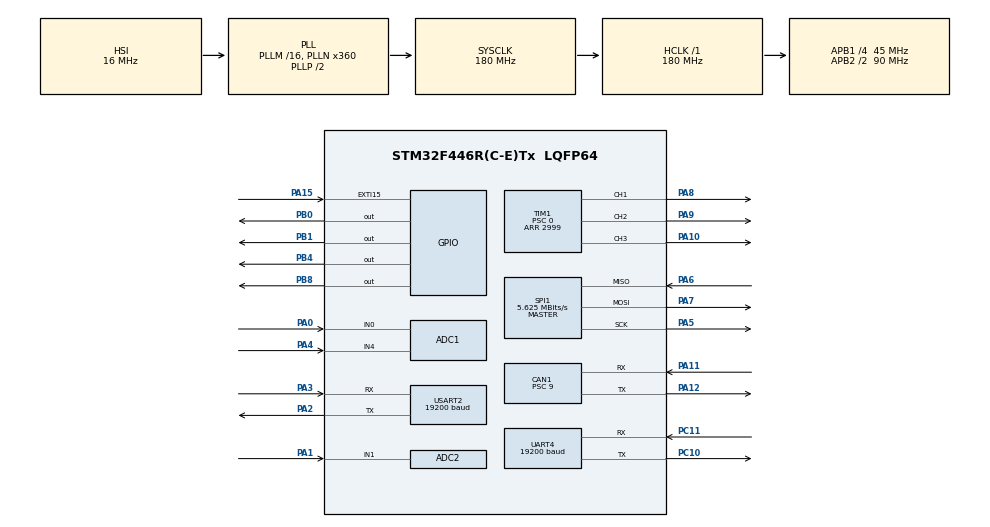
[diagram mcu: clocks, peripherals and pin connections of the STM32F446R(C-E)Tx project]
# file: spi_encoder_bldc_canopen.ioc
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ADC1.Channel-5\#ChannelRegularConversion=ADC_CHANNEL_0
ADC1.Channel-6\#ChannelInjectedConversion=ADC_CHANNEL_0
ADC1.Channel-7\#ChannelInjectedConversion=ADC_CHANNEL_4
ADC1.ClockPrescaler=ADC_CLOCK_SYNC_PCLK_DIV6
ADC1.ContinuousConvMode=ENABLE
ADC1.DataAlign=ADC_DATAALIGN_RIGHT
ADC1.EOCSelection=ADC_EOC_SEQ_CONV
ADC1.ExternalTrigConv=ADC_SOFTWARE_START
ADC1.ExternalTrigInjecConv=ADC_EXTERNALTRIGINJECCONV_T1_TRGO
ADC1.InjNumberOfConversion=2
ADC1.InjectedConvMode=Discontinuous
ADC1.InjectedOffset-6\#ChannelInjectedConversion=0
ADC1.InjectedOffset-7\#ChannelInjectedConversion=0
ADC1.InjectedRank-6\#ChannelInjectedConversion=1
ADC1.InjectedRank-7\#ChannelInjectedConversion=2
ADC1.NbrOfConversion=1
ADC1.NbrOfConversionFlag=1
ADC1.Rank-5\#ChannelRegularConversion=1
ADC1.SamplingTime-5\#ChannelRegularConversion=ADC_SAMPLETIME_480CYCLES
ADC1.SamplingTime-6\#ChannelInjectedConversion=ADC_SAMPLETIME_480CYCLES
ADC1.SamplingTime-7\#ChannelInjectedConversion=ADC_SAMPLETIME_480CYCLES
ADC1.master=1
ADC2.Channel-1\#ChannelRegularConversion=ADC_CHANNEL_1
ADC2.ClockPrescaler=ADC_CLOCK_SYNC_PCLK_DIV6
ADC2.NbrOfConversionFlag=1
ADC2.Rank-1\#ChannelRegularConversion=1
ADC2.SamplingTime-1\#ChannelRegularConversion=ADC_SAMPLETIME_15CYCLES
CAN1.ABOM=ENABLE
CAN1.BS1=CAN_BS1_2TQ
CAN1.BS2=CAN_BS2_2TQ
CAN1.CalculateBaudRate=1000000
CAN1.CalculateTimeBit=1000
CAN1.CalculateTimeQuantum=200.0
CAN1.Prescaler=9
CAN1.RFLM=ENABLE
CAN1.TXFP=ENABLE
Dma.ADC2.1.Direction=DMA_PERIPH_TO_MEMORY
Dma.ADC2.1.FIFOMode=DMA_FIFOMODE_DISABLE
Dma.ADC2.1.Instance=DMA2_Stream2
Dma.ADC2.1.MemDataAlignment=DMA_MDATAALIGN_HALFWORD
Dma.ADC2.1.MemInc=DMA_MINC_ENABLE
Dma.ADC2.1.Mode=DMA_NORMAL
Dma.ADC2.1.PeriphDataAlignment=DMA_PDATAALIGN_HALFWORD
Dma.ADC2.1.PeriphInc=DMA_PINC_DISABLE
Dma.ADC2.1.Priority=DMA_PRIORITY_MEDIUM
Dma.Request0=USART2_TX
Dma.Request1=ADC2
Dma.Request2=UART4_TX
Dma.UART4_TX.2.Direction=DMA_MEMORY_TO_PERIPH
Dma.UART4_TX.2.FIFOMode=DMA_FIFOMODE_DISABLE
Dma.UART4_TX.2.Instance=DMA1_Stream4
Dma.UART4_TX.2.MemDataAlignment=DMA_MDATAALIGN_BYTE
Dma.UART4_TX.2.MemInc=DMA_MINC_ENABLE
Dma.UART4_TX.2.Mode=DMA_NORMAL
Dma.UART4_TX.2.PeriphDataAlignment=DMA_PDATAALIGN_BYTE
Dma.UART4_TX.2.PeriphInc=DMA_PINC_DISABLE
Dma.UART4_TX.2.Priority=DMA_PRIORITY_LOW
Dma.USART2_TX.0.Direction=DMA_MEMORY_TO_PERIPH
Dma.USART2_TX.0.FIFOMode=DMA_FIFOMODE_DISABLE
Dma.USART2_TX.0.Instance=DMA1_Stream6
Dma.USART2_TX.0.MemDataAlignment=DMA_MDATAALIGN_BYTE
Dma.USART2_TX.0.MemInc=DMA_MINC_ENABLE
Dma.USART2_TX.0.Mode=DMA_NORMAL
Dma.USART2_TX.0.PeriphDataAlignment=DMA_PDATAALIGN_BYTE
Dma.USART2_TX.0.PeriphInc=DMA_PINC_DISABLE
Dma.USART2_TX.0.Priority=DMA_PRIORITY_LOW
Mcu.Family=STM32F4
Mcu.Name=STM32F446R(C-E)Tx
Mcu.Package=LQFP64
NVIC.ADC_IRQn=true\:0\:0\:false\:false\:true\:true\:true\:true
NVIC.CAN1_RX0_IRQn=true\:0\:0\:false\:false\:true\:true\:true\:true
NVIC.CAN1_RX1_IRQn=true\:0\:0\:false\:false\:true\:true\:true\:true
NVIC.CAN1_TX_IRQn=true\:0\:0\:false\:false\:true\:true\:true\:true
NVIC.DMA1_Stream4_IRQn=true\:0\:0\:false\:false\:true\:false\:true\:true
NVIC.DMA1_Stream6_IRQn=true\:0\:0\:false\:false\:true\:false\:true\:true
NVIC.DMA2_Stream2_IRQn=true\:0\:0\:false\:false\:true\:false\:true\:true
NVIC.PriorityGroup=NVIC_PRIORITYGROUP_0
NVIC.SPI1_IRQn=true\:0\:0\:false\:false\:true\:true\:true\:true
NVIC.TIM7_IRQn=true\:0\:0\:false\:false\:true\:true\:true\:true
NVIC.TIM8_TRG_COM_TIM14_IRQn=true\:0\:0\:false\:false\:true\:true\:true\:true
NVIC.TIM8_UP_TIM13_IRQn=true\:0\:0\:false\:false\:true\:true\:true\:true
NVIC.USART2_IRQn=true\:0\:0\:false\:false\:true\:true\:true\:true
PA0-WKUP.Signal=SharedAnalog_PA0
PA1.Signal=SharedAnalog_PA1
PA10.Signal=S_TIM1_CH3
PA11.Mode=CAN_Activate
PA11.Signal=CAN1_RX
PA12.Mode=CAN_Activate
PA12.Signal=CAN1_TX
PA13.GPIO_Label=TMS
PA13.Mode=Serial_Wire
PA13.Signal=SYS_JTMS-SWDIO
PA14.GPIO_Label=TCK
PA14.Mode=Serial_Wire
PA14.Signal=SYS_JTCK-SWCLK
PA15.Signal=GPXTI15
PA2.Mode=Asynchronous
PA2.Signal=USART2_TX
PA3.Mode=Asynchronous
PA3.Signal=USART2_RX
PA4.Signal=SharedAnalog_PA4
PA5.Mode=Full_Duplex_Master
PA5.Signal=SPI1_SCK
PA6.Mode=Full_Duplex_Master
PA6.Signal=SPI1_MISO
PA7.Mode=Full_Duplex_Master
PA7.Signal=SPI1_MOSI
PA8.Signal=S_TIM1_CH1
PA9.Signal=S_TIM1_CH2
PB0.Signal=GPIO_Output
PB1.Signal=GPIO_Output
PB4.Signal=GPIO_Output
PB8.Signal=GPIO_Output
PC10.Mode=Asynchronous
PC10.Signal=UART4_TX
PC11.Mode=Asynchronous
PC11.Signal=UART4_RX
PC14-OSC32_IN.Signal=RCC_OSC32_IN
PC15-OSC32_OUT.Signal=RCC_OSC32_OUT
PH0-OSC_IN.Mode=HSE-External-Oscillator
PH0-OSC_IN.Signal=RCC_OSC_IN
PH1-OSC_OUT.Mode=HSE-External-Oscillator
PH1-OSC_OUT.Signal=RCC_OSC_OUT
ProjectManager.HeapSize=0x200
ProjectManager.StackSize=0x400
ProjectManager.TargetToolchain=STM32CubeIDE
RCC.48MHZClocksFreq_Value=84000000
RCC.AHBFreq_Value=180000000
RCC.APB1CLKDivider=RCC_HCLK_DIV4
RCC.APB1Freq_Value=45000000
RCC.APB1TimCLKDivider=1
RCC.APB1TimFreq_Value=45000000
RCC.APB2CLKDivider=RCC_HCLK_DIV2
RCC.APB2Freq_Value=90000000
RCC.APB2TimFreq_Value=180000000
RCC.CortexFreq_Value=180000000
RCC.FLatency-AdvancedSettings=FLASH_LATENCY_5
RCC.HCLKFreq_Value=180000000
RCC.HSE_VALUE=8000000
RCC.HSI_VALUE=16000000
RCC.PLLN=360
RCC.SYSCLKFreq_VALUE=180000000
RCC.SYSCLKSource=RCC_SYSCLKSOURCE_PLLCLK
RCC.USBFreq_Value=180000000
RCC.VCOOutputFreq_Value=360000000
SH.S_TIM1_CH1.0=TIM1_CH1,PWM Generation1 CH1
SH.S_TIM1_CH2.0=TIM1_CH2,PWM Generation2 CH2
SH.S_TIM1_CH3.0=TIM1_CH3,PWM Generation3 CH3
SH.SharedAnalog_PA0.0=GPIO_Analog
SH.SharedAnalog_PA0.1=ADC1_IN0,IN0
SH.SharedAnalog_PA1.0=GPIO_Analog
SH.SharedAnalog_PA1.1=ADC2_IN1,IN1
SH.SharedAnalog_PA4.0=GPIO_Analog
SH.SharedAnalog_PA4.1=ADC1_IN4,IN4
SPI1.BaudRatePrescaler=SPI_BAUDRATEPRESCALER_16
SPI1.CLKPhase=SPI_PHASE_2EDGE
SPI1.CLKPolarity=SPI_POLARITY_LOW
SPI1.CalculateBaudRate=5.625 MBits/s
SPI1.DataSize=SPI_DATASIZE_16BIT
SPI1.Direction=SPI_DIRECTION_2LINES
SPI1.Mode=SPI_MODE_MASTER
SPI1.VirtualType=VM_MASTER
TIM1.AutoReloadPreload=TIM_AUTORELOAD_PRELOAD_DISABLE
TIM1.AutomaticOutput=TIM_AUTOMATICOUTPUT_DISABLE
TIM1.BreakPolarity=TIM_BREAKPOLARITY_HIGH
TIM1.BreakState=TIM_BREAK_DISABLE
TIM1.Channel-PWM\ Generation1\ CH1=TIM_CHANNEL_1
TIM1.Channel-PWM\ Generation2\ CH2=TIM_CHANNEL_2
TIM1.Channel-PWM\ Generation3\ CH3=TIM_CHANNEL_3
TIM1.CounterMode=TIM_COUNTERMODE_CENTERALIGNED1
TIM1.LockLevel=TIM_LOCKLEVEL_OFF
TIM1.OCFastMode_PWM-PWM\ Generation1\ CH1=TIM_OCFAST_ENABLE
TIM1.OCFastMode_PWM-PWM\ Generation2\ CH2=TIM_OCFAST_ENABLE
TIM1.OCFastMode_PWM-PWM\ Generation3\ CH3=TIM_OCFAST_ENABLE
TIM1.OCMode_PWM-PWM\ Generation1\ CH1=TIM_OCMODE_PWM2
TIM1.OCMode_PWM-PWM\ Generation2\ CH2=TIM_OCMODE_PWM2
TIM1.OCMode_PWM-PWM\ Generation3\ CH3=TIM_OCMODE_PWM2
TIM1.OffStateIDLEMode=TIM_OSSI_DISABLE
TIM1.OffStateRunMode=TIM_OSSR_DISABLE
TIM1.Period=2999
TIM1.Prescaler=0
TIM1.Pulse-PWM\ Generation1\ CH1=0
TIM1.Pulse-PWM\ Generation2\ CH2=0
TIM1.Pulse-PWM\ Generation3\ CH3=0
TIM1.RepetitionCounter=0
TIM1.TIM_MasterOutputTrigger=TIM_TRGO_UPDATE
TIM1.TIM_MasterSlaveMode=TIM_MASTERSLAVEMODE_DISABLE
TIM2.Period=4294967295
TIM2.Prescaler=44
TIM3.Prescaler=19
TIM7.Period=1000
TIM7.Prescaler=179
TIM8.Period=999
TIM8.Prescaler=179
UART4.BaudRate=19200
UART4.VirtualMode=Asynchronous
USART2.BaudRate=19200
USART2.VirtualMode=VM_ASYNC
VP_TIM1_VS_ClockSourceINT.Mode=Internal
VP_TIM2_VS_ClockSourceINT.Mode=Internal
VP_TIM3_VS_ClockSourceINT.Mode=Internal
VP_TIM7_VS_ClockSourceINT.Mode=Enable_Timer
VP_TIM8_VS_ClockSourceINT.Mode=Internal
board=NUCLEO-F446RE

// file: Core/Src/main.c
/* USER CODE BEGIN Header */
/**
  ******************************************************************************
  * @file           : main.c
  * @brief          : Main program body
  ******************************************************************************
  * @attention
  *
  * Copyright (c) 2025 STMicroelectronics.
  * All rights reserved.
  *
  * This software is licensed under terms that can be found in the LICENSE file
  * in the root directory of this software component.
  * If no LICENSE file comes with this software, it is provided AS-IS.
  *
  ******************************************************************************
  */
/* USER CODE END Header */
#include "main.h"

/* USER CODE BEGIN Includes */
#include "CO_app_STM32.h"
#include "OD.h"

#include "stdio.h"
#include "string.h"
#include "math.h"
#define PWM_PERIOD 5998
#define PI 3.14159265359
#define AS5147U_ANGLE_REG  0x3FFF
#define AS5147U_BIT_RESOLUTION 14
#define V_LIMIT 8.0
#define INTEGRAL_LIMIT 1.5
#define OVERCURRENT_LIMIT_SQ 2
volatile uint32_t adc_value_A0,adc_value_A2, t_prev;
float ia,ib,ic,i_alpha,i_beta,i_d,i_q,Valpha,Vbeta,Va,Vb,Vc,angle,error_d,error_q,error_d_sum, error_q_sum, speed_error_sum, error_pos_sum;
float id_ref = 0.0,iq_ref = 0.1 ,theta_ref = 0 ,velocity_ref = 500;
float Ki = 30, Kp = 8 ,Kp_speed = 20, Ki_speed = 4,Kd_speed = 1, Ki_pos = 35, Kp_pos = 70,Kd_pos = 3;
float previous_angle,angle_current,angle_previous,velocity,total_angle,error_pos,theta_now,alpha = 0.9;
float execution_time,dt,speed_dt,angle_elec_rad,angle_offset,error_speed,speed_dt = 0.007;
float theta = 0,Vd =0,adc_dma_voltage,Vq,Iq_rate,idq=0;
float output_q_rate,elec_angle,Vq_unclamped,current_sq;
float shunt_resistor = 0.01,amp_gain = 50.0;
float t_position_prev,t_position_now,position_dt,Speed_dt;
int speed_loop_counter = 0,position_loop_counter = 0,i = 0,pole_pairs = 7;
volatile uint8_t flag_current_loop = 0,uart_busy = 0;
uint32_t adc_dma_value;
uint16_t PWM_A,PWM_B,PWM_C,rawCount,adc_inj_val[2],cnt_val;
uint8_t array_iq[50];
float raw_angle,angle_deg;
float32_t rx_theta = 0;
float32_t rx_speed=0;
float32_t rx_mode=0;
float32_t rx_change_PID=0;
float32_t rx_kp_speed=0;
float32_t rx_ki_speed=0;
float32_t rx_kd_speed=0;
float32_t rx_kp_pos=0;
float32_t rx_ki_pos=0;
float32_t rx_kd_pos=0;

/* USER CODE END Includes */

ADC_HandleTypeDef hadc1;
ADC_HandleTypeDef hadc2;
DMA_HandleTypeDef hdma_adc2;

CAN_HandleTypeDef hcan1;

SPI_HandleTypeDef hspi1;

TIM_HandleTypeDef htim1;
TIM_HandleTypeDef htim2;
TIM_HandleTypeDef htim3;
TIM_HandleTypeDef htim7;
TIM_HandleTypeDef htim8;

UART_HandleTypeDef huart4;
UART_HandleTypeDef huart2;
DMA_HandleTypeDef hdma_uart4_tx;
DMA_HandleTypeDef hdma_usart2_tx;

void SystemClock_Config(void);
static void MX_GPIO_Init(void);
static void MX_DMA_Init(void);
static void MX_TIM1_Init(void);
static void MX_ADC1_Init(void);
static void MX_SPI1_Init(void);
static void MX_TIM3_Init(void);
static void MX_USART2_UART_Init(void);
static void MX_TIM2_Init(void);
static void MX_TIM8_Init(void);
static void MX_UART4_Init(void);
static void MX_ADC2_Init(void);
static void MX_CAN1_Init(void);
static void MX_TIM7_Init(void);

/* USER CODE BEGIN 0 */

unsigned long _micros(){
	return HAL_GetTick()*1000;
}

void Update_dt()
{
	 static uint32_t t_prev = 0;
	uint32_t t_now = _micros();
	dt = (t_now - t_prev) / 1000000.0f;
//	if (dt <= 0.0f || dt > 0.5f) dt = 0.001f;
	t_prev = t_now;
}

void update_speed_dt()
{
	 static uint32_t t_speed_prev = 0;
	uint32_t t_speed_now = _micros();
	Speed_dt = (t_speed_now - t_speed_prev) / 1000000.0f;
	t_speed_prev = t_speed_now;
}

void update_position_dt()
{
	 static uint32_t t_position_prev = 0;
	uint32_t t_position_now = _micros();
	position_dt = (t_position_now - t_position_prev) / 1000000.0f;
	t_position_prev = t_position_now;
}

void delay_us (uint16_t us)
{
	__HAL_TIM_SET_COUNTER(&htim3,0);
	while (__HAL_TIM_GET_COUNTER(&htim3) < us);
}

uint8_t spiCalcEvenParity(uint16_t value) {
    uint8_t cnt = 0;
    for (uint8_t i = 0; i < 16; i++) {
        if (value & 0x1) cnt++;
        value >>= 1;
    }
    return cnt & 0x1;
}

uint16_t AS5147U_ReadAngle() {
    uint16_t command = AS5147U_ANGLE_REG ;
    command |= (1 << 14);
    command |= ((uint16_t)spiCalcEvenParity(command) << 15);
    uint16_t receivedData;

    uint16_t nop = 0x0000;

    HAL_GPIO_WritePin(GPIOB, GPIO_PIN_8, GPIO_PIN_RESET);
    HAL_SPI_Transmit(&hspi1, (uint8_t*)&command, 1, HAL_MAX_DELAY);

    HAL_GPIO_WritePin(GPIOB, GPIO_PIN_8, GPIO_PIN_SET);
    delay_us(10);
    HAL_GPIO_WritePin(GPIOB, GPIO_PIN_8, GPIO_PIN_RESET);

    HAL_SPI_TransmitReceive(&hspi1,(uint8_t*)&nop ,(uint8_t*)&receivedData, 1, HAL_MAX_DELAY);
    HAL_GPIO_WritePin(GPIOB, GPIO_PIN_8, GPIO_PIN_SET);

    receivedData = receivedData >> (1 + 13 - AS5147U_BIT_RESOLUTION);
    const uint16_t data_mask = 0xFFFF >> (16 - AS5147U_BIT_RESOLUTION);
    return receivedData & data_mask;

}

float normalize_angle(float angle_elec_rad) {
    while (angle_elec_rad >= 2 * M_PI) angle_elec_rad -= 2 * M_PI;
    while (angle_elec_rad < 0) angle_elec_rad += 2 * M_PI;
    return angle_elec_rad;
}

float AS5147U_GetAngleRad() {
    rawCount = AS5147U_ReadAngle();
    float mechanical = rawCount / 16384.0 * 2.0 * PI;
    //mechanical -= (M_PI+0.18714565);//
    mechanical -= 5.3897189304;// dây màu
    //mechanical -= 1.19627206;// dây 3 pha màu trắng
    if (mechanical >= 2.0f * PI) mechanical -= 2.0f * PI;
    return mechanical;
//    return (rawCount / 16384.0 * 2.0 * PI) ;
}

float electricalAngle() {
	float mechanical_angle_rad = AS5147U_GetAngleRad();
     elec_angle = ((mechanical_angle_rad  - angle_offset )) * pole_pairs;//+ PI/2
    // elec_angle -= M_PI;
    while (elec_angle >= 2 * M_PI) elec_angle -= 2 * M_PI;
    while (elec_angle < 0) elec_angle += 2 * M_PI;
    return elec_angle;
}

void alignRotor() {
    float V_align = 1.0;

    Va = V_align;
    PWM_A = ((Va / 8.0 + 1.0)/2 * PWM_PERIOD)*0.1;
    PWM_B = 0;
    PWM_C = 0;

    __HAL_TIM_SET_COMPARE(&htim1, TIM_CHANNEL_1, PWM_A);
    __HAL_TIM_SET_COMPARE(&htim1, TIM_CHANNEL_2, PWM_B);
    __HAL_TIM_SET_COMPARE(&htim1, TIM_CHANNEL_3, PWM_C);

    HAL_Delay(1000);

    angle_offset = AS5147U_GetAngleRad();

    __HAL_TIM_SET_COMPARE(&htim1, TIM_CHANNEL_1, 0);
    __HAL_TIM_SET_COMPARE(&htim1, TIM_CHANNEL_2, 0);
    __HAL_TIM_SET_COMPARE(&htim1, TIM_CHANNEL_3, 0);
}
void clark()
{
 	i_alpha = ia;
	i_beta = (ib - ic) / sqrt(3);
}

void park()
{
	i_d = i_alpha*cos(theta) + i_beta*sin(theta);
	i_q = -i_alpha*sin(theta) + i_beta*cos(theta);
	idq = sqrt( i_d * i_d + i_q * i_q);
}

void setpwm(){

	PWM_A = ((Va / 8 + 1.0)/2 * PWM_PERIOD)*0.3;
	PWM_B = ((Vb / 8 + 1.0)/2 * PWM_PERIOD)*0.3;
	PWM_C = ((Vc / 8 + 1.0)/2 * PWM_PERIOD)*0.3;

	// current_sq = sqrt(ia * ia + ib * ib + ic * ic);
	 current_sq = ia * ia + ib * ib + ic * ic;

	if (current_sq > OVERCURRENT_LIMIT_SQ) {
	    __HAL_TIM_SET_COMPARE(&htim1, TIM_CHANNEL_1, 0);
	    __HAL_TIM_SET_COMPARE(&htim1, TIM_CHANNEL_2, 0);
	    __HAL_TIM_SET_COMPARE(&htim1, TIM_CHANNEL_3, 0);
	    //HAL_Delay(5000);
	} else {
	    __HAL_TIM_SET_COMPARE(&htim1, TIM_CHANNEL_1, PWM_A);
	    __HAL_TIM_SET_COMPARE(&htim1, TIM_CHANNEL_2, PWM_B);
	    __HAL_TIM_SET_COMPARE(&htim1, TIM_CHANNEL_3, PWM_C);
	}
	if (adc_dma_voltage < 1.5 || adc_dma_voltage > 1.9) {
		    __HAL_TIM_SET_COMPARE(&htim1, TIM_CHANNEL_1, 0);
		    __HAL_TIM_SET_COMPARE(&htim1, TIM_CHANNEL_2, 0);
		    __HAL_TIM_SET_COMPARE(&htim1, TIM_CHANNEL_3, 0);
		    //HAL_Delay(5000);

		} else {
		    __HAL_TIM_SET_COMPARE(&htim1, TIM_CHANNEL_1, PWM_A);
		    __HAL_TIM_SET_COMPARE(&htim1, TIM_CHANNEL_2, PWM_B);
		    __HAL_TIM_SET_COMPARE(&htim1, TIM_CHANNEL_3, PWM_C);
		}
}

void update_PID()
{
	if ((fabs(error_pos) >= 0.0f) && (fabs(error_pos) <= (6.0f * (float)M_PI)))//(6.0f * (float)M_PI) ))
	{

		Kp_speed = 20.0f;
				Ki_speed = 2.0f;
				Kd_speed = 2.0f;
				Ki_pos = 1.0f;
				Kp_pos = 100.0f;
				Kd_pos = 15.0f;
			    if((velocity_ref > -200 && velocity_ref <= 0) || (velocity_ref > 0 && velocity_ref <= 200))
			    {
			        Ki = 3.5;
			        Kp = 1.0;
			    }
			    else if((velocity_ref > -500 && velocity_ref <= -200)||(velocity_ref > 200 && velocity_ref <= 500))
			    {
			        Ki = 5.0;
			        Kp = 2.0;
			    }
			    else if((velocity_ref > -1000 && velocity_ref <= -500)||(velocity_ref > 500 && velocity_ref <= 1000))
			    {
			        Ki = 7.0;
			        Kp = 2.0;
			    }
			    else if((velocity_ref > -1500 && velocity_ref <= -1000)||(velocity_ref > 1000 && velocity_ref <= 1500))
			    {
			        Ki = 11;
			        Kp = 2.0;
			    }
			    else
			    {
			        Ki = 13;
			        Kp = 2.0;
			    }
	}
else //if  ( (fabs(error_pos) > (6.0f * (float)M_PI)))
	{
		Kp_speed = 10.0f;
		Ki_speed = 0.0f;
		Kd_speed = 0.0f;
		Ki_pos = 5.0f;
		Kp_pos = 100.0f;
		Kd_pos = 0.5f;
		if((velocity_ref > -200 && velocity_ref <= 0) || (velocity_ref > 0 && velocity_ref <= 200))
		{
		Ki = 7.5;
		Kp = 5.5;
		}
		else if((velocity_ref > -500 && velocity_ref <= -200)||(velocity_ref > 200 && velocity_ref <= 500))
		{
		 Ki = 8.0;
		 Kp = 5.5;
		 }
		else if((velocity_ref > -1000 && velocity_ref <= -500)||(velocity_ref > 500 && velocity_ref <= 1000))
		{
		 Ki = 9.0;
		 Kp = 5.5;
		 }
		else if((velocity_ref > -1500 && velocity_ref <= -1000)||(velocity_ref > 1000 && velocity_ref <= 1500))
		{
		Ki = 13;
		Kp = 5.5;
		}
		else
		{
		Ki = 13;
		Kp = 5.5;
		}
	}

}

//void update_PID()
//{
//	Kp_speed = 2, Ki_speed = 0.02,Kd_speed = 0;
//	if((velocity_ref > -100 && velocity_ref <= 0) || (velocity_ref > 0 && velocity_ref <= 100))
//	    {
//	        Ki = 0.8;
//	        Kp = 0.9;
//	    }
//	    else if((velocity_ref > -150 && velocity_ref <= -100)||(velocity_ref > 100 && velocity_ref <= 150))
//	    {
//	        Ki = 1.0;
//	        Kp = 1.1;
//	    }
//	    else if((velocity_ref > -250 && velocity_ref <= -150)||(velocity_ref > 150 && velocity_ref <= 250))
//	    {
//	        Ki = 1.1;
//	        Kp = 1.1;
//	    }
//	    else if((velocity_ref > -350 && velocity_ref <= -250)||(velocity_ref > 250 && velocity_ref <= 350))
//	    {
//	        Ki = 1.1;
//	        Kp = 0.9;
//	    }
//	    else if((velocity_ref > -500 && velocity_ref <= -350)||(velocity_ref > 350 && velocity_ref <= 500))
//	    {
//	        Ki = 1.3;
//	        Kp = 1.6;
//	    }
//	    else if((velocity_ref > -750 && velocity_ref <= -500)||(velocity_ref > 500 && velocity_ref <= 750))
//	    {
//	        Ki = 1.6;
//	        Kp = 1.7;
//	    }
//	    else if((velocity_ref > -1000 && velocity_ref <= -750)||(velocity_ref > 750 && velocity_ref <= 1000))
//	    {
//	        Ki = 1.8;
//	        Kp = 2.1;
//	    }
//	    else if((velocity_ref > -1500 && velocity_ref <= -1000)||(velocity_ref > 1000 && velocity_ref <= 1500))
//	    {
//	        Ki = 1.9;
//	        Kp = 2.2;
//	    }
//	    else
//	    {
//	        Ki = 2.2;
//	        Kp = 2.8;
//	    }
//	}

void position_loop()
{
	update_position_dt();

	    static float error_pos_sum = 0;
//	    static float position_dt = 0.012;

	    static float raw_angle_prev = 0;
	    static int turn_count = 0;

	    static float velocity_ref_prev = 0;

	     raw_angle = AS5147U_GetAngleRad();
	     angle_deg = raw_angle * (180.0f / M_PI);
	    float delta = raw_angle - raw_angle_prev;

	    if (delta > M_PI) turn_count--;
	    else if (delta < -M_PI) turn_count++;

	    raw_angle_prev = raw_angle;

	    theta_now = raw_angle + turn_count * 2.0f * M_PI;
	    error_pos = theta_ref - theta_now;

	    error_pos_sum += error_pos * position_dt;
	    error_pos_sum = fminf(fmaxf(error_pos_sum, -0.5f), 0.5f);

	    float velocity_unclamped = Kp_pos * error_pos + Ki_pos * error_pos_sum;// + Kd_pos * derivative_pos;
	    velocity_unclamped = fminf(fmaxf(velocity_unclamped, -1700), 1700);

	    float velocity_ramp = 5000.0f;
	    float velocity_rate = (velocity_unclamped - velocity_ref_prev) / position_dt;

	    if (velocity_rate > velocity_ramp)
	        velocity_ref = velocity_ref_prev + velocity_ramp * position_dt;
	    else if (velocity_rate < -velocity_ramp)
	        velocity_ref = velocity_ref_prev - velocity_ramp * position_dt;
	    else
	        velocity_ref = velocity_unclamped;

	    velocity_ref_prev = velocity_ref;
}

void Speed_Loop()
{
	update_speed_dt();
    static float angle_prev = 0;
    static float error_speed_prev = 0;
    float angle_now = electricalAngle();
    float delta_angle = angle_now - angle_prev;
    //speed_dt= Speed_dt * 7;
    if (delta_angle > PI) delta_angle -= 2 * PI;
    if (delta_angle < -PI) delta_angle += 2 * PI;

    velocity = alpha * velocity + (1 - alpha) * ((delta_angle / speed_dt) * (60.0f / (2.0f * PI)));
    error_speed = velocity_ref - velocity;
    speed_error_sum += error_speed * speed_dt;
    speed_error_sum = fminf(fmaxf(speed_error_sum, -0.8f), 0.8f);

    float derivative = (error_speed - error_speed_prev) / speed_dt;
    error_speed_prev = error_speed;

    float Iq_unlimited = Kp_speed * error_speed + Ki_speed * speed_error_sum + Kd_speed * derivative;

       float Ts = speed_dt;
       float Iq_ramp = 5000;

       static float iq_ref_prev = 0.0f;
        Iq_rate = (Iq_unlimited - iq_ref_prev) / Ts;
       if (Iq_rate > Iq_ramp)
           iq_ref = iq_ref_prev + Iq_ramp * Ts;
       else if (Iq_rate < -Iq_ramp)
           iq_ref = iq_ref_prev - Iq_ramp * Ts;
       else
           iq_ref = Iq_unlimited;

       iq_ref = fminf(fmaxf(iq_ref, -1.0f), 1.0f);

       iq_ref_prev = iq_ref;

    angle_prev = angle_now;

}

void Current_Loop()
{
    Update_dt();

    theta = electricalAngle();
    clark();
    park();

    error_d = id_ref - i_d;
    error_q = iq_ref - i_q;

    error_d_sum += error_d * dt;
    error_q_sum += error_q * dt;

    error_d_sum = fminf(fmaxf(error_d_sum, -INTEGRAL_LIMIT), INTEGRAL_LIMIT);
    error_q_sum = fminf(fmaxf(error_q_sum, -INTEGRAL_LIMIT), INTEGRAL_LIMIT);

    float Vd_unclamped = Kp * error_d + Ki * error_d_sum ;
     Vq_unclamped = Kp * error_q + Ki * error_q_sum ;

    float V_limit = 8.0f;
//    Vd_unclamped = fminf(fmaxf(Vd_unclamped, -V_limit), V_limit);
//    Vq_unclamped = fminf(fmaxf(Vq_unclamped, -V_limit), V_limit);

    // Ramping
    static float Vd_prev = 0;
    static float Vq_prev = 0;
    float output_ramp = 1000.0f;

    float output_d_rate = (Vd_unclamped - Vd_prev) / dt;
    output_q_rate = (Vq_unclamped - Vq_prev) / dt;

    if (output_d_rate > output_ramp)
        Vd = Vd_prev + output_ramp * dt;
    else if (output_d_rate < -output_ramp)
        Vd = Vd_prev - output_ramp * dt;
    else
        Vd = Vd_unclamped;

    if (output_q_rate > output_ramp)
        Vq = Vq_prev + output_ramp * dt;
    else if (output_q_rate < -output_ramp)
        Vq = Vq_prev - output_ramp * dt;
    else
        Vq = Vq_unclamped;

    Vd = fminf(fmaxf(Vd, -V_limit), V_limit);
    Vq = fminf(fmaxf(Vq, -V_limit), V_limit);

    Vd_prev = Vd;
    Vq_prev = Vq;

	Valpha = Vd * cos(theta) - Vq * sin(theta);
	Vbeta  = Vd * sin(theta) + Vq * cos(theta);

    Va = Valpha;
    Vb = -0.5 * Valpha + (sqrtf(3) / 2) * Vbeta ;
    Vc = -0.5 * Valpha - (sqrtf(3) / 2) * Vbeta ;

    setpwm(Va, Vb, Vc);
    HAL_ADC_Start_DMA(&hadc2, &adc_dma_value, 1);
}

/* USER CODE END 0 */

int main(void)
{

  /* MCU Configuration--------------------------------------------------------*/

  /* Reset of all peripherals, Initializes the Flash interface and the Systick. */
  HAL_Init();

  /* Configure the system clock */
  SystemClock_Config();

  /* Initialize all configured peripherals */
  MX_GPIO_Init();
  MX_DMA_Init();
  MX_TIM1_Init();
  MX_ADC1_Init();
  MX_SPI1_Init();
  MX_TIM3_Init();
  MX_USART2_UART_Init();
  MX_TIM2_Init();
  MX_TIM8_Init();
  MX_UART4_Init();
  MX_ADC2_Init();
  MX_CAN1_Init();
  MX_TIM7_Init();
  /* USER CODE BEGIN 2 */
  CANopenNodeSTM32 canopenNodeSTM32;
    canopenNodeSTM32.CANHandle = &hcan1;
    canopenNodeSTM32.HWInitFunction = MX_CAN1_Init;
    canopenNodeSTM32.timerHandle = &htim7;
    canopenNodeSTM32.desiredNodeID = 32;
    canopenNodeSTM32.baudrate = 1000;
    canopen_app_init(&canopenNodeSTM32);

  HAL_TIM_Base_Start(&htim1);
  HAL_TIM_PWM_Start(&htim1, TIM_CHANNEL_1);
  HAL_TIM_PWM_Start(&htim1, TIM_CHANNEL_2);
  HAL_TIM_PWM_Start(&htim1, TIM_CHANNEL_3);
  HAL_TIM_Base_Start_IT(&htim8);
  HAL_TIM_Base_Start(&htim3);
  __HAL_TIM_SET_COUNTER(&htim2, 0);
  HAL_TIM_Base_Start(&htim2);
  HAL_ADCEx_InjectedStart_IT(&hadc1);

  HAL_GPIO_WritePin(GPIOB, GPIO_PIN_4, GPIO_PIN_SET);
  HAL_ADC_Start_DMA(&hadc2, &adc_dma_value, 1);
  angle = AS5147U_GetAngleRad();
  alignRotor();
  position_loop();
  /* USER CODE END 2 */

  /* Infinite loop */
  /* USER CODE BEGIN WHILE */
  while (1)
  {
	  canopen_app_process();
		OD_get_f32(OD_find(OD, 0x2000) , 0x01, &rx_theta, true);
		  	  	     theta_ref=rx_theta;

		OD_get_f32(OD_find(OD, 0x2000) , 0x02, &rx_speed, true);
		OD_get_f32(OD_find(OD, 0x2000) , 0x03, &rx_mode, true);
		OD_get_f32(OD_find(OD, 0x2000) , 0x04, &rx_change_PID, true);

		  	OD_PERSIST_COMM.x2200_TPDO.theta_now= theta_now;
		  	OD_PERSIST_COMM.x2200_TPDO.id= i_d;
		  	OD_PERSIST_COMM.x2200_TPDO.iq= i_q;
		  	OD_PERSIST_COMM.x2400_TPDO_PID.kp_speed=Kp_speed*100;
		  	OD_PERSIST_COMM.x2400_TPDO_PID.ki_speed=Ki_speed*100;
		  	OD_PERSIST_COMM.x2400_TPDO_PID.kd_speed=Kd_speed*100;
		  	OD_PERSIST_COMM.x2400_TPDO_PID.kp_pos=Kp_pos*100;
		  	OD_PERSIST_COMM.x2400_TPDO_PID.ki_pos=Ki_pos*100;
		  	OD_PERSIST_COMM.x2400_TPDO_PID.kd_pos=Kd_pos*100;
		  	OD_PERSIST_COMM.x2200_TPDO.speed_now=velocity;

	  if (flag_current_loop)
	     {
	         flag_current_loop = 0;
	         update_PID();
	         Current_Loop();
	         Speed_Loop();
	         i++;
	         ///////

//	         position_loop_counter++;
//	         if(position_loop_counter >= 12)
//	         {
//       	     position_loop();
//          	 position_loop_counter = 0;
//	         }
	         if (rx_mode == 0)
	         {
	             position_loop_counter++;
	             if (position_loop_counter >= 12)
	             {
	                 position_loop();
	                 position_loop_counter = 0;
	             }
	         }
	         else if (rx_mode == 1)
	         {
	             velocity_ref = rx_speed;
	         }

	         if (rx_change_PID == 1)
	         {
	         		OD_get_f32(OD_find(OD, 0x2600) , 0x01, &rx_kp_speed, true);
	         				rx_kp_speed=Kp_speed;

	         		OD_get_f32(OD_find(OD, 0x2600) , 0x02, &rx_ki_speed, true);
	         				rx_ki_speed=Ki_speed;

	         		OD_get_f32(OD_find(OD, 0x2600) , 0x03, &rx_kd_speed, true);
	         				rx_kd_speed=Kd_speed;

	         		OD_get_f32(OD_find(OD, 0x2600) , 0x04, &rx_kp_pos, true);
	         				rx_kp_pos=Kp_pos;

	         		OD_get_f32(OD_find(OD, 0x2600) , 0x05, &rx_ki_pos, true);
	         				rx_ki_pos=Ki_pos;

	         		OD_get_f32(OD_find(OD, 0x2600) , 0x06, &rx_kd_pos, true);
	         				rx_ki_pos=Kd_pos;
	         }
	     }

    /* USER CODE END WHILE */

  }
}

void SystemClock_Config(void)
{
  RCC_OscInitTypeDef RCC_OscInitStruct = {0};
  RCC_ClkInitTypeDef RCC_ClkInitStruct = {0};

  /** Configure the main internal regulator output voltage
  */
  __HAL_RCC_PWR_CLK_ENABLE();
  __HAL_PWR_VOLTAGESCALING_CONFIG(PWR_REGULATOR_VOLTAGE_SCALE1);

  /** Initializes the RCC Oscillators according to the specified parameters
  * in the RCC_OscInitTypeDef structure.
  */
  RCC_OscInitStruct.OscillatorType = RCC_OSCILLATORTYPE_HSI;
  RCC_OscInitStruct.HSIState = RCC_HSI_ON;
  RCC_OscInitStruct.HSICalibrationValue = RCC_HSICALIBRATION_DEFAULT;
  RCC_OscInitStruct.PLL.PLLState = RCC_PLL_ON;
  RCC_OscInitStruct.PLL.PLLSource = RCC_PLLSOURCE_HSI;
  RCC_OscInitStruct.PLL.PLLM = 16;
  RCC_OscInitStruct.PLL.PLLN = 360;
  RCC_OscInitStruct.PLL.PLLP = RCC_PLLP_DIV2;
  RCC_OscInitStruct.PLL.PLLQ = 2;
  RCC_OscInitStruct.PLL.PLLR = 2;
  if (HAL_RCC_OscConfig(&RCC_OscInitStruct) != HAL_OK)
  {
    Error_Handler();
  }

  /** Activate the Over-Drive mode
  */
  if (HAL_PWREx_EnableOverDrive() != HAL_OK)
  {
    Error_Handler();
  }

  /** Initializes the CPU, AHB and APB buses clocks
  */
  RCC_ClkInitStruct.ClockType = RCC_CLOCKTYPE_HCLK|RCC_CLOCKTYPE_SYSCLK
                              |RCC_CLOCKTYPE_PCLK1|RCC_CLOCKTYPE_PCLK2;
  RCC_ClkInitStruct.SYSCLKSource = RCC_SYSCLKSOURCE_PLLCLK;
  RCC_ClkInitStruct.AHBCLKDivider = RCC_SYSCLK_DIV1;
  RCC_ClkInitStruct.APB1CLKDivider = RCC_HCLK_DIV4;
  RCC_ClkInitStruct.APB2CLKDivider = RCC_HCLK_DIV2;

  if (HAL_RCC_ClockConfig(&RCC_ClkInitStruct, FLASH_LATENCY_5) != HAL_OK)
  {
    Error_Handler();
  }
}

static void MX_ADC1_Init(void)
{

  ADC_ChannelConfTypeDef sConfig = {0};
  ADC_InjectionConfTypeDef sConfigInjected = {0};

  /** Configure the global features of the ADC (Clock, Resolution, Data Alignment and number of conversion)
  */
  hadc1.Instance = ADC1;
  hadc1.Init.ClockPrescaler = ADC_CLOCK_SYNC_PCLK_DIV6;
  hadc1.Init.Resolution = ADC_RESOLUTION_12B;
  hadc1.Init.ScanConvMode = ENABLE;
  hadc1.Init.ContinuousConvMode = ENABLE;
  hadc1.Init.DiscontinuousConvMode = DISABLE;
  hadc1.Init.ExternalTrigConvEdge = ADC_EXTERNALTRIGCONVEDGE_NONE;
  hadc1.Init.ExternalTrigConv = ADC_SOFTWARE_START;
  hadc1.Init.DataAlign = ADC_DATAALIGN_RIGHT;
  hadc1.Init.NbrOfConversion = 1;
  hadc1.Init.DMAContinuousRequests = DISABLE;
  hadc1.Init.EOCSelection = ADC_EOC_SEQ_CONV;
  if (HAL_ADC_Init(&hadc1) != HAL_OK)
  {
    Error_Handler();
  }

  /** Configure for the selected ADC regular channel its corresponding rank in the sequencer and its sample time.
  */
  sConfig.Channel = ADC_CHANNEL_0;
  sConfig.Rank = 1;
  sConfig.SamplingTime = ADC_SAMPLETIME_480CYCLES;
  if (HAL_ADC_ConfigChannel(&hadc1, &sConfig) != HAL_OK)
  {
    Error_Handler();
  }

  /** Configures for the selected ADC injected channel its corresponding rank in the sequencer and its sample time
  */
  sConfigInjected.InjectedChannel = ADC_CHANNEL_0;
  sConfigInjected.InjectedRank = 1;
  sConfigInjected.InjectedNbrOfConversion = 2;
  sConfigInjected.InjectedSamplingTime = ADC_SAMPLETIME_480CYCLES;
  sConfigInjected.ExternalTrigInjecConvEdge = ADC_EXTERNALTRIGINJECCONVEDGE_RISING;
  sConfigInjected.ExternalTrigInjecConv = ADC_EXTERNALTRIGINJECCONV_T1_TRGO;
  sConfigInjected.AutoInjectedConv = DISABLE;
  sConfigInjected.InjectedDiscontinuousConvMode = ENABLE;
  sConfigInjected.InjectedOffset = 0;
  if (HAL_ADCEx_InjectedConfigChannel(&hadc1, &sConfigInjected) != HAL_OK)
  {
    Error_Handler();
  }

  /** Configures for the selected ADC injected channel its corresponding rank in the sequencer and its sample time
  */
  sConfigInjected.InjectedChannel = ADC_CHANNEL_4;
  sConfigInjected.InjectedRank = 2;
  if (HAL_ADCEx_InjectedConfigChannel(&hadc1, &sConfigInjected) != HAL_OK)
  {
    Error_Handler();
  }

}

static void MX_ADC2_Init(void)
{

  ADC_ChannelConfTypeDef sConfig = {0};

  /** Configure the global features of the ADC (Clock, Resolution, Data Alignment and number of conversion)
  */
  hadc2.Instance = ADC2;
  hadc2.Init.ClockPrescaler = ADC_CLOCK_SYNC_PCLK_DIV6;
  hadc2.Init.Resolution = ADC_RESOLUTION_12B;
  hadc2.Init.ScanConvMode = DISABLE;
  hadc2.Init.ContinuousConvMode = DISABLE;
  hadc2.Init.DiscontinuousConvMode = DISABLE;
  hadc2.Init.ExternalTrigConvEdge = ADC_EXTERNALTRIGCONVEDGE_NONE;
  hadc2.Init.ExternalTrigConv = ADC_SOFTWARE_START;
  hadc2.Init.DataAlign = ADC_DATAALIGN_RIGHT;
  hadc2.Init.NbrOfConversion = 1;
  hadc2.Init.DMAContinuousRequests = DISABLE;
  hadc2.Init.EOCSelection = ADC_EOC_SINGLE_CONV;
  if (HAL_ADC_Init(&hadc2) != HAL_OK)
  {
    Error_Handler();
  }

  /** Configure for the selected ADC regular channel its corresponding rank in the sequencer and its sample time.
  */
  sConfig.Channel = ADC_CHANNEL_1;
  sConfig.Rank = 1;
  sConfig.SamplingTime = ADC_SAMPLETIME_15CYCLES;
  if (HAL_ADC_ConfigChannel(&hadc2, &sConfig) != HAL_OK)
  {
    Error_Handler();
  }

}

static void MX_CAN1_Init(void)
{

  hcan1.Instance = CAN1;
  hcan1.Init.Prescaler = 9;
  hcan1.Init.Mode = CAN_MODE_NORMAL;
  hcan1.Init.SyncJumpWidth = CAN_SJW_1TQ;
  hcan1.Init.TimeSeg1 = CAN_BS1_2TQ;
  hcan1.Init.TimeSeg2 = CAN_BS2_2TQ;
  hcan1.Init.TimeTriggeredMode = DISABLE;
  hcan1.Init.AutoBusOff = ENABLE;
  hcan1.Init.AutoWakeUp = DISABLE;
  hcan1.Init.AutoRetransmission = DISABLE;
  hcan1.Init.ReceiveFifoLocked = ENABLE;
  hcan1.Init.TransmitFifoPriority = ENABLE;
  if (HAL_CAN_Init(&hcan1) != HAL_OK)
  {
    Error_Handler();
  }

}

static void MX_SPI1_Init(void)
{

  /* SPI1 parameter configuration*/
  hspi1.Instance = SPI1;
  hspi1.Init.Mode = SPI_MODE_MASTER;
  hspi1.Init.Direction = SPI_DIRECTION_2LINES;
  hspi1.Init.DataSize = SPI_DATASIZE_16BIT;
  hspi1.Init.CLKPolarity = SPI_POLARITY_LOW;
  hspi1.Init.CLKPhase = SPI_PHASE_2EDGE;
  hspi1.Init.NSS = SPI_NSS_SOFT;
  hspi1.Init.BaudRatePrescaler = SPI_BAUDRATEPRESCALER_16;
  hspi1.Init.FirstBit = SPI_FIRSTBIT_MSB;
  hspi1.Init.TIMode = SPI_TIMODE_DISABLE;
  hspi1.Init.CRCCalculation = SPI_CRCCALCULATION_DISABLE;
  hspi1.Init.CRCPolynomial = 10;
  if (HAL_SPI_Init(&hspi1) != HAL_OK)
  {
    Error_Handler();
  }

}

static void MX_TIM1_Init(void)
{

  TIM_ClockConfigTypeDef sClockSourceConfig = {0};
  TIM_MasterConfigTypeDef sMasterConfig = {0};
  TIM_OC_InitTypeDef sConfigOC = {0};
  TIM_BreakDeadTimeConfigTypeDef sBreakDeadTimeConfig = {0};

  htim1.Instance = TIM1;
  htim1.Init.Prescaler = 0;
  htim1.Init.CounterMode = TIM_COUNTERMODE_CENTERALIGNED1;
  htim1.Init.Period = 2999;
  htim1.Init.ClockDivision = TIM_CLOCKDIVISION_DIV1;
  htim1.Init.RepetitionCounter = 0;
  htim1.Init.AutoReloadPreload = TIM_AUTORELOAD_PRELOAD_DISABLE;
  if (HAL_TIM_Base_Init(&htim1) != HAL_OK)
  {
    Error_Handler();
  }
  sClockSourceConfig.ClockSource = TIM_CLOCKSOURCE_INTERNAL;
  if (HAL_TIM_ConfigClockSource(&htim1, &sClockSourceConfig) != HAL_OK)
  {
    Error_Handler();
  }
  if (HAL_TIM_PWM_Init(&htim1) != HAL_OK)
  {
    Error_Handler();
  }
  sMasterConfig.MasterOutputTrigger = TIM_TRGO_UPDATE;
  sMasterConfig.MasterSlaveMode = TIM_MASTERSLAVEMODE_DISABLE;
  if (HAL_TIMEx_MasterConfigSynchronization(&htim1, &sMasterConfig) != HAL_OK)
  {
    Error_Handler();
  }
  sConfigOC.OCMode = TIM_OCMODE_PWM2;
  sConfigOC.Pulse = 0;
  sConfigOC.OCPolarity = TIM_OCPOLARITY_HIGH;
  sConfigOC.OCNPolarity = TIM_OCNPOLARITY_HIGH;
  sConfigOC.OCFastMode = TIM_OCFAST_ENABLE;
  sConfigOC.OCIdleState = TIM_OCIDLESTATE_RESET;
  sConfigOC.OCNIdleState = TIM_OCNIDLESTATE_RESET;
  if (HAL_TIM_PWM_ConfigChannel(&htim1, &sConfigOC, TIM_CHANNEL_1) != HAL_OK)
  {
    Error_Handler();
  }
  if (HAL_TIM_PWM_ConfigChannel(&htim1, &sConfigOC, TIM_CHANNEL_2) != HAL_OK)
  {
    Error_Handler();
  }
  if (HAL_TIM_PWM_ConfigChannel(&htim1, &sConfigOC, TIM_CHANNEL_3) != HAL_OK)
  {
    Error_Handler();
  }
  sBreakDeadTimeConfig.OffStateRunMode = TIM_OSSR_DISABLE;
  sBreakDeadTimeConfig.OffStateIDLEMode = TIM_OSSI_DISABLE;
  sBreakDeadTimeConfig.LockLevel = TIM_LOCKLEVEL_OFF;
  sBreakDeadTimeConfig.DeadTime = 0;
  sBreakDeadTimeConfig.BreakState = TIM_BREAK_DISABLE;
  sBreakDeadTimeConfig.BreakPolarity = TIM_BREAKPOLARITY_HIGH;
  sBreakDeadTimeConfig.AutomaticOutput = TIM_AUTOMATICOUTPUT_DISABLE;
  if (HAL_TIMEx_ConfigBreakDeadTime(&htim1, &sBreakDeadTimeConfig) != HAL_OK)
  {
    Error_Handler();
  }
  HAL_TIM_MspPostInit(&htim1);

}

static void MX_TIM2_Init(void)
{

  TIM_ClockConfigTypeDef sClockSourceConfig = {0};
  TIM_MasterConfigTypeDef sMasterConfig = {0};

  htim2.Instance = TIM2;
  htim2.Init.Prescaler = 44;
  htim2.Init.CounterMode = TIM_COUNTERMODE_UP;
  htim2.Init.Period = 4294967295;
  htim2.Init.ClockDivision = TIM_CLOCKDIVISION_DIV1;
  htim2.Init.AutoReloadPreload = TIM_AUTORELOAD_PRELOAD_DISABLE;
  if (HAL_TIM_Base_Init(&htim2) != HAL_OK)
  {
    Error_Handler();
  }
  sClockSourceConfig.ClockSource = TIM_CLOCKSOURCE_INTERNAL;
  if (HAL_TIM_ConfigClockSource(&htim2, &sClockSourceConfig) != HAL_OK)
  {
    Error_Handler();
  }
  sMasterConfig.MasterOutputTrigger = TIM_TRGO_RESET;
  sMasterConfig.MasterSlaveMode = TIM_MASTERSLAVEMODE_DISABLE;
  if (HAL_TIMEx_MasterConfigSynchronization(&htim2, &sMasterConfig) != HAL_OK)
  {
    Error_Handler();
  }

}

static void MX_TIM3_Init(void)
{

  TIM_ClockConfigTypeDef sClockSourceConfig = {0};
  TIM_MasterConfigTypeDef sMasterConfig = {0};

  htim3.Instance = TIM3;
  htim3.Init.Prescaler = 19;
  htim3.Init.CounterMode = TIM_COUNTERMODE_UP;
  htim3.Init.Period = 65535;
  htim3.Init.ClockDivision = TIM_CLOCKDIVISION_DIV1;
  htim3.Init.AutoReloadPreload = TIM_AUTORELOAD_PRELOAD_DISABLE;
  if (HAL_TIM_Base_Init(&htim3) != HAL_OK)
  {
    Error_Handler();
  }
  sClockSourceConfig.ClockSource = TIM_CLOCKSOURCE_INTERNAL;
  if (HAL_TIM_ConfigClockSource(&htim3, &sClockSourceConfig) != HAL_OK)
  {
    Error_Handler();
  }
  sMasterConfig.MasterOutputTrigger = TIM_TRGO_RESET;
  sMasterConfig.MasterSlaveMode = TIM_MASTERSLAVEMODE_DISABLE;
  if (HAL_TIMEx_MasterConfigSynchronization(&htim3, &sMasterConfig) != HAL_OK)
  {
    Error_Handler();
  }

}

static void MX_TIM7_Init(void)
{

  TIM_MasterConfigTypeDef sMasterConfig = {0};

  htim7.Instance = TIM7;
  htim7.Init.Prescaler = 179;
  htim7.Init.CounterMode = TIM_COUNTERMODE_UP;
  htim7.Init.Period = 1000;
  htim7.Init.AutoReloadPreload = TIM_AUTORELOAD_PRELOAD_DISABLE;
  if (HAL_TIM_Base_Init(&htim7) != HAL_OK)
  {
    Error_Handler();
  }
  sMasterConfig.MasterOutputTrigger = TIM_TRGO_RESET;
  sMasterConfig.MasterSlaveMode = TIM_MASTERSLAVEMODE_DISABLE;
  if (HAL_TIMEx_MasterConfigSynchronization(&htim7, &sMasterConfig) != HAL_OK)
  {
    Error_Handler();
  }

}

static void MX_TIM8_Init(void)
{

  TIM_ClockConfigTypeDef sClockSourceConfig = {0};
  TIM_MasterConfigTypeDef sMasterConfig = {0};

  htim8.Instance = TIM8;
  htim8.Init.Prescaler = 179;
  htim8.Init.CounterMode = TIM_COUNTERMODE_UP;
  htim8.Init.Period = 999;
  htim8.Init.ClockDivision = TIM_CLOCKDIVISION_DIV1;
  htim8.Init.RepetitionCounter = 0;
  htim8.Init.AutoReloadPreload = TIM_AUTORELOAD_PRELOAD_DISABLE;
  if (HAL_TIM_Base_Init(&htim8) != HAL_OK)
  {
    Error_Handler();
  }
  sClockSourceConfig.ClockSource = TIM_CLOCKSOURCE_INTERNAL;
  if (HAL_TIM_ConfigClockSource(&htim8, &sClockSourceConfig) != HAL_OK)
  {
    Error_Handler();
  }
  sMasterConfig.MasterOutputTrigger = TIM_TRGO_RESET;
  sMasterConfig.MasterSlaveMode = TIM_MASTERSLAVEMODE_DISABLE;
  if (HAL_TIMEx_MasterConfigSynchronization(&htim8, &sMasterConfig) != HAL_OK)
  {
    Error_Handler();
  }

}

static void MX_UART4_Init(void)
{

  huart4.Instance = UART4;
  huart4.Init.BaudRate = 19200;
  huart4.Init.WordLength = UART_WORDLENGTH_8B;
  huart4.Init.StopBits = UART_STOPBITS_1;
  huart4.Init.Parity = UART_PARITY_NONE;
  huart4.Init.Mode = UART_MODE_TX_RX;
  huart4.Init.HwFlowCtl = UART_HWCONTROL_NONE;
  huart4.Init.OverSampling = UART_OVERSAMPLING_16;
  if (HAL_UART_Init(&huart4) != HAL_OK)
  {
    Error_Handler();
  }

}

static void MX_USART2_UART_Init(void)
{

  huart2.Instance = USART2;
  huart2.Init.BaudRate = 19200;
  huart2.Init.WordLength = UART_WORDLENGTH_8B;
  huart2.Init.StopBits = UART_STOPBITS_1;
  huart2.Init.Parity = UART_PARITY_NONE;
  huart2.Init.Mode = UART_MODE_TX_RX;
  huart2.Init.HwFlowCtl = UART_HWCONTROL_NONE;
  huart2.Init.OverSampling = UART_OVERSAMPLING_16;
  if (HAL_UART_Init(&huart2) != HAL_OK)
  {
    Error_Handler();
  }

}

static void MX_DMA_Init(void)
{

  /* DMA controller clock enable */
  __HAL_RCC_DMA1_CLK_ENABLE();
  __HAL_RCC_DMA2_CLK_ENABLE();

  /* DMA interrupt init */
  /* DMA1_Stream4_IRQn interrupt configuration */
  HAL_NVIC_SetPriority(DMA1_Stream4_IRQn, 0, 0);
  HAL_NVIC_EnableIRQ(DMA1_Stream4_IRQn);
  /* DMA1_Stream6_IRQn interrupt configuration */
  HAL_NVIC_SetPriority(DMA1_Stream6_IRQn, 0, 0);
  HAL_NVIC_EnableIRQ(DMA1_Stream6_IRQn);
  /* DMA2_Stream2_IRQn interrupt configuration */
  HAL_NVIC_SetPriority(DMA2_Stream2_IRQn, 0, 0);
  HAL_NVIC_EnableIRQ(DMA2_Stream2_IRQn);

}

static void MX_GPIO_Init(void)
{
  GPIO_InitTypeDef GPIO_InitStruct = {0};

  /* GPIO Ports Clock Enable */
  __HAL_RCC_GPIOC_CLK_ENABLE();
  __HAL_RCC_GPIOH_CLK_ENABLE();
  __HAL_RCC_GPIOA_CLK_ENABLE();
  __HAL_RCC_GPIOB_CLK_ENABLE();

  /*Configure GPIO pin Output Level */
  HAL_GPIO_WritePin(GPIOB, GPIO_PIN_0|GPIO_PIN_1|GPIO_PIN_4|GPIO_PIN_8, GPIO_PIN_RESET);

  /*Configure GPIO pins : PB0 PB1 PB4 PB8 */
  GPIO_InitStruct.Pin = GPIO_PIN_0|GPIO_PIN_1|GPIO_PIN_4|GPIO_PIN_8;
  GPIO_InitStruct.Mode = GPIO_MODE_OUTPUT_PP;
  GPIO_InitStruct.Pull = GPIO_NOPULL;
  GPIO_InitStruct.Speed = GPIO_SPEED_FREQ_LOW;
  HAL_GPIO_Init(GPIOB, &GPIO_InitStruct);

  /*Configure GPIO pin : PA15 */
  GPIO_InitStruct.Pin = GPIO_PIN_15;
  GPIO_InitStruct.Mode = GPIO_MODE_IT_RISING;
  GPIO_InitStruct.Pull = GPIO_NOPULL;
  HAL_GPIO_Init(GPIOA, &GPIO_InitStruct);

}

/* USER CODE BEGIN 4 */
void HAL_ADCEx_InjectedConvCpltCallback(ADC_HandleTypeDef *hadc) {
    if (hadc->Instance == ADC1) {

   	     cnt_val = __HAL_TIM_GET_COUNTER(&htim1);
   	     adc_inj_val[0]= HAL_ADCEx_InjectedGetValue(hadc, ADC_INJECTED_RANK_1);
         adc_value_A0 = HAL_ADCEx_InjectedGetValue(hadc, ADC_INJECTED_RANK_1);
         adc_inj_val[1]= HAL_ADCEx_InjectedGetValue(hadc, ADC_INJECTED_RANK_2);
         adc_value_A2 = HAL_ADCEx_InjectedGetValue(hadc, ADC_INJECTED_RANK_2);
         ia = (((adc_value_A0/4095.0)*3.3 - 1.65))/(50.0*0.01);
         ib = (((adc_value_A2/4095.0)*3.3 - 1.65))/(50.0*0.01);
         ic= -( ia + ib);
    }
}

void HAL_TIM_PeriodElapsedCallback(TIM_HandleTypeDef *htim)
{
    if (htim->Instance == TIM8)
    {
        flag_current_loop = 1;
    }
    if (htim->Instance == TIM7) // Kiểm tra đúng Timer
           {
               HAL_IncTick();
           }

       if (htim == canopenNodeSTM32->timerHandle)
       {
             canopen_app_interrupt();
         }

}

void HAL_UART_TxCpltCallback(UART_HandleTypeDef *huart)
{
    if (huart->Instance == USART2)//
    {
        uart_busy = 0;
    }
}
void HAL_ADC_ConvCpltCallback(ADC_HandleTypeDef *hadc)
{
    if (hadc->Instance == ADC2)
    {
        adc_dma_voltage = (adc_dma_value / 4095.0) * 3.3;
    }
}

/* USER CODE END 4 */

void Error_Handler(void)
{
  __disable_irq();
  while (1)
  {
  }
}
